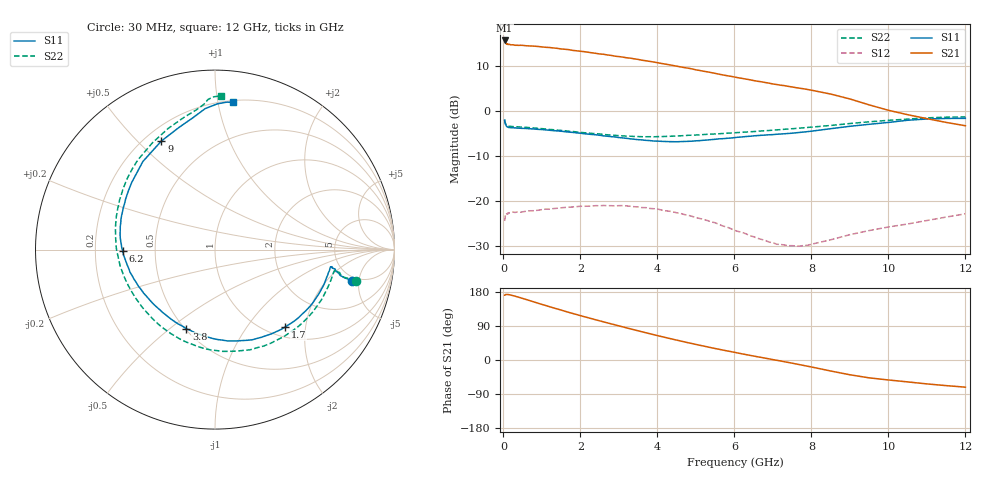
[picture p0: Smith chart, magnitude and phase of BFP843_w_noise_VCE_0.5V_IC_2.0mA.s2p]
! Infineon Technologies  Discrete & RF Semiconductors
! BFP843
! VCE =  0.5 V,  IC =  2.0 mA
! Common Emitter S-Parameters:  Aug 2013
# GHz  S  MA  R  50
!  f  S11  S21  S12  S22
! GHz  MAG  ANG  MAG  ANG  MAG  ANG  MAG  ANG
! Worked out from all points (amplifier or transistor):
!   103 points, 30 MHz to 12 GHz, reference 50 ohm
!   highest |S21| = 15.6 dB at 30 MHz (marker M1)
!   |S21| within 3 dB of that: start of sweep to 2.514 GHz
!   unconditionally stable (mu >= 1): 143.1 MHz to 595.5 MHz; 3.543 GHz to end of sweep
!   at 400 MHz: K = 1.01, MAG = 17.8 dB, |S12| = -22.4 dB
!   at 3.7 GHz: K = 1.02, MAG = 15.4 dB, |S12| = -21.4 dB
!   at 12 GHz: K = 1.06, MAG = 8.3 dB, |S12| = -22.8 dB
!   lowest NFmin = 1.16 dB at 450 MHz
!   S11 on the Smith chart (normalised r, x): 30 MHz: 4.53, -4.06; 1.7 GHz: 1.19, -1.55; 3.8 GHz: 0.51, -0.57; 6.2 GHz: 0.32, -0.01; 9 GHz: 0.27, +0.59; 12 GHz: 0.21, +1.11
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0.03  0.7844 -12.7  6.025 171.0  0.0603 37.5  0.8037 -12.4
0.05  0.7109 -11.6  5.718 172.6  0.0699 21.6  0.7335 -12.1
0.07  0.6846 -10.1  5.531 172.8  0.0696 17.3  0.7055 -10.4
0.13  0.6577 -8.5  5.457 172.8  0.0732 9.7  0.6784 -9.9
0.5  0.6397 -15.3  5.315 162.5  0.0761 2.8  0.6594 -21.2
0.8  0.629 -23.1  5.209 153.0  0.0783 0.9  0.6461 -32.5
1.2  0.6098 -34.0  5.033 140.6  0.0816 -1.2  0.6224 -47.9
1.7  0.5816 -47.8  4.765 125.6  0.0856 -5.6  0.5948 -66.8
2.1  0.558 -59.1  4.527 114.2  0.0877 -10.0  0.5725 -81.9
2.8  0.5181 -79.3  4.114 95.3  0.089 -19.0  0.5396 -107.1
3.3  0.4897 -94.3  3.835 82.1  0.0877 -25.9  0.5238 -125.0
3.8  0.4685 -109.9  3.531 69.4  0.083 -32.8  0.5173 -141.9
4.1  0.4597 -119.5  3.353 62.0  0.0798 -36.5  0.5191 -151.4
4.9  0.4615 -145.5  2.914 43.4  0.0678 -45.7  0.5375 -172.2
5.4  0.4803 -159.9  2.653 32.4  0.0589 -49.6  0.5526 176.9
6.1  0.5107 -176.7  2.326 18.2  0.0461 -50.5  0.5754 163.4
6.2  0.5141 -179.2  2.29 16.2  0.0451 -50.0  0.5796 161.6
7.3  0.5575 157.4  1.903 -4.6  0.0327 -33.7  0.6253 142.4
8.5  0.6344 129.3  1.535 -29.0  0.0373 -9.9  0.6893 120.5
9  0.6747 116.3  1.355 -39.0  0.0425 -6.9  0.7238 111.1
10.5  0.7872 94.0  0.907 -57.8  0.0558 -6.5  0.8105 94.5
12  0.8266 82.9  0.684 -71.7  0.0723 -12.5  0.8577 87.8
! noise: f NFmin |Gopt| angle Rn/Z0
0.45  1.16  0.34  9  0.05
0.9  1.19  0.35  19  0.08
1.5  1.25  0.34  31  0.18
1.9  1.3  0.33  40  0.27
2.4  1.38  0.32  50  0.36
3.5  1.55  0.27  71  0.52
5.5  1.89  0.22  159  0.56
10  2.91  0.58  -85  0.63
